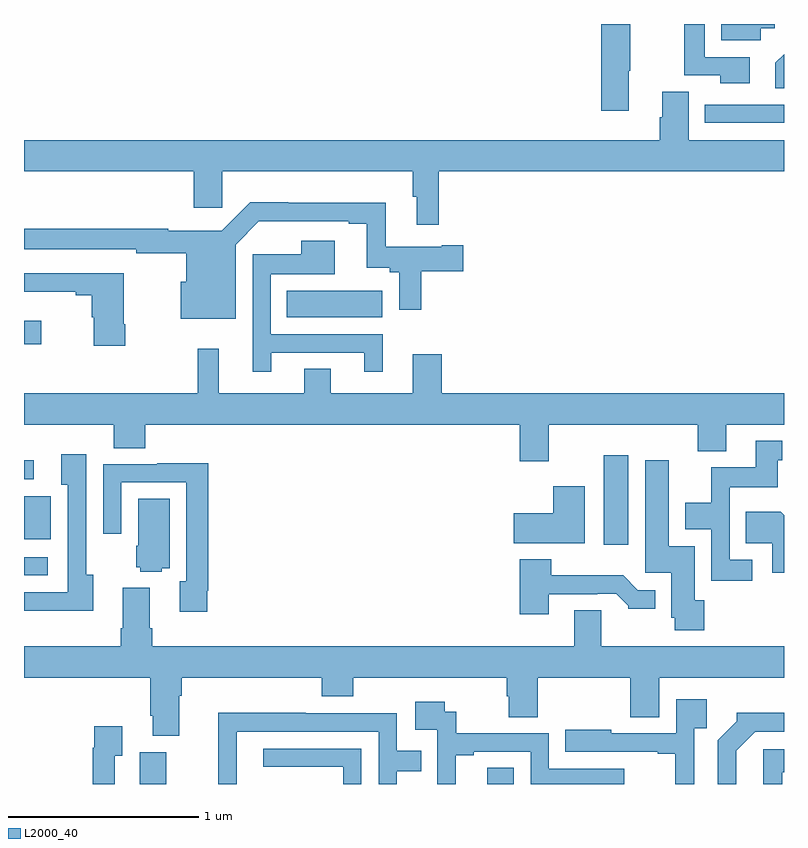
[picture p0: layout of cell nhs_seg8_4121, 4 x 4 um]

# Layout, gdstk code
import gdstk
lib = gdstk.Library(unit=1e-6, precision=1e-09)
def R(c, l, rs):  # rectangles x0, y0, x1, y1
    for r in rs: c.add(gdstk.rectangle(r[:2], r[2:], *l))
def P(c, l, *ps):  # polygons
    for p in ps: c.add(gdstk.Polygon(p, *l))
L2000_40 = (2000, 40)

nhs_seg8_4121 = lib.new_cell('nhs_seg8_4121')
R(nhs_seg8_4121, L2000_40, [(363.608,1155.9,363.748,1156.068), (365.438,1155.9,365.578,1155.986), (363,1156.998,363.124,1157.094), (366.05,1157.16,366.181,1157.629), (363,1157.187,363.142,1157.415), (363,1157.505,363.052,1157.603), (363,1158.215,363.091,1158.337), (364.384,1158.356,364.885,1158.496), (366.584,1159.38,367,1159.476)])
P(nhs_seg8_4121, L2000_40, [(366.184,1159.655),(366.192,1159.655),(366.192,1159.9),(366.038,1159.9),(366.038,1159.443),(366.184,1159.443)],
  [(366.877,1159.877),(366.952,1159.877),(366.952,1159.9),(366.671,1159.9),(366.671,1159.814),(366.877,1159.814)],
  [(366.82,1159.725),(366.582,1159.725),(366.582,1159.9),(366.474,1159.9),(366.474,1159.629),(366.664,1159.629),(366.664,1159.589),(366.82,1159.589)],
  [(367,1159.742),(366.955,1159.697),(366.955,1159.561),(367,1159.561)],
  [(365.183,1159.124),(367,1159.124),(367,1159.288),(366.499,1159.288),(366.499,1159.544),(366.359,1159.544),(366.359,1159.41),(366.347,1159.41),(366.347,1159.288),(363,1159.288),(363,1159.124),(363.893,1159.124),(363.893,1158.933),(364.044,1158.933),(364.044,1159.124),(365.047,1159.124),(365.047,1158.992),(365.066,1158.992),(365.066,1158.843),(365.183,1158.843)],
  [(364.114,1158.739),(364.236,1158.861),(364.709,1158.861),(364.709,1158.849),(364.805,1158.849),(364.805,1158.617),(364.926,1158.617),(364.926,1158.593),(364.974,1158.593),(364.974,1158.396),(365.09,1158.396),(365.09,1158.598),(365.311,1158.598),(365.311,1158.735),(365.198,1158.735),(365.198,1158.727),(364.903,1158.727),(364.903,1158.958),(364.391,1158.958),(364.391,1158.961),(364.192,1158.961),(364.042,1158.811),(363.758,1158.811),(363.758,1158.823),(363,1158.823),(363,1158.714),(363.592,1158.714),(363.592,1158.694),(363.854,1158.694),(363.854,1158.544),(363.824,1158.544),(363.824,1158.35),(364.114,1158.35)],
  [(364.3,1158.171),(364.79,1158.171),(364.79,1158.069),(364.888,1158.069),(364.888,1158.267),(364.299,1158.267),(364.299,1158.584),(364.636,1158.584),(364.636,1158.76),(364.46,1158.76),(364.46,1158.688),(364.203,1158.688),(364.203,1158.069),(364.3,1158.069)],
  [(363.534,1158.319),(363.526,1158.319),(363.526,1158.588),(363,1158.588),(363,1158.491),(363.272,1158.491),(363.272,1158.472),(363.356,1158.472),(363.356,1158.357),(363.368,1158.357),(363.368,1158.207),(363.534,1158.207)],
  [(365.761,1157.792),(366.545,1157.792),(366.545,1157.651),(366.697,1157.651),(366.697,1157.792),(367,1157.792),(367,1157.956),(365.198,1157.956),(365.198,1158.163),(365.045,1158.163),(365.045,1157.956),(364.615,1157.956),(364.615,1158.086),(364.475,1158.086),(364.475,1157.956),(364.025,1157.956),(364.025,1158.19),(363.915,1158.19),(363.915,1157.956),(363,1157.956),(363,1157.792),(363.473,1157.792),(363.473,1157.668),(363.638,1157.668),(363.638,1157.792),(365.609,1157.792),(365.609,1157.598),(365.761,1157.598)],
  [(366.832,1157.079),(366.714,1157.079),(366.714,1157.462),(366.967,1157.462),(366.967,1157.604),(366.991,1157.604),(366.991,1157.707),(366.851,1157.707),(366.851,1157.566),(366.616,1157.566),(366.616,1157.38),(366.479,1157.38),(366.479,1157.24),(366.618,1157.24),(366.618,1156.971),(366.832,1156.971)],
  [(363.364,1157.002),(363.327,1157.002),(363.327,1157.635),(363.197,1157.635),(363.197,1157.474),(363.231,1157.474),(363.231,1156.908),(363,1156.908),(363,1156.811),(363.364,1156.811)],
  [(366.581,1156.866),(366.529,1156.866),(366.529,1157.152),(366.394,1157.152),(366.394,1157.605),(366.269,1157.605),(366.269,1157.013),(366.407,1157.013),(366.407,1156.776),(366.424,1156.776),(366.424,1156.71),(366.581,1156.71)],
  [(363.964,1156.918),(363.971,1156.918),(363.971,1157.587),(363.701,1157.587),(363.701,1157.583),(363.417,1157.583),(363.417,1157.217),(363.513,1157.217),(363.513,1157.487),(363.855,1157.487),(363.855,1156.967),(363.821,1156.967),(363.821,1156.806),(363.964,1156.806)],
  [(365.95,1157.467),(365.786,1157.467),(365.786,1157.326),(365.577,1157.326),(365.577,1157.168),(365.95,1157.168)],
  [(363.726,1157.036),(363.766,1157.036),(363.766,1157.402),(363.602,1157.402),(363.602,1157.154),(363.59,1157.154),(363.59,1157.04),(363.612,1157.04),(363.612,1157.018),(363.726,1157.018)],
  [(367,1157.314),(366.982,1157.332),(366.799,1157.332),(366.799,1157.168),(366.938,1157.168),(366.938,1157.011),(367,1157.011)],
  [(365.761,1156.899),(366.017,1156.899),(366.017,1156.902),(366.116,1156.902),(366.18,1156.838),(366.18,1156.823),(366.322,1156.823),(366.322,1156.92),(366.231,1156.92),(366.153,1156.999),(365.774,1156.999),(365.774,1157.083),(365.609,1157.083),(365.609,1156.794),(365.761,1156.794)],
  [(363.817,1156.364),(363.83,1156.364),(363.83,1156.46),(364.568,1156.46),(364.568,1156.361),(364.733,1156.361),(364.733,1156.46),(365.54,1156.46),(365.54,1156.362),(365.552,1156.362),(365.552,1156.252),(365.705,1156.252),(365.705,1156.46),(366.191,1156.46),(366.191,1156.252),(366.343,1156.252),(366.343,1156.46),(367,1156.46),(367,1156.624),(366.037,1156.624),(366.037,1156.814),(365.897,1156.814),(365.897,1156.624),(363.674,1156.624),(363.674,1156.72),(363.661,1156.72),(363.661,1156.933),(363.521,1156.933),(363.521,1156.72),(363.509,1156.72),(363.509,1156.624),(363,1156.624),(363,1156.46),(363.665,1156.46),(363.665,1156.258),(363.677,1156.258),(363.677,1156.153),(363.817,1156.153)],
  [(366.528,1156.193),(366.593,1156.193),(366.593,1156.345),(366.432,1156.345),(366.432,1156.167),(366.091,1156.167),(366.091,1156.186),(365.848,1156.186),(365.848,1156.071),(366.335,1156.071),(366.335,1156.059),(366.427,1156.059),(366.427,1155.9),(366.528,1155.9)],
  [(365.272,1156.051),(365.368,1156.051),(365.368,1156.071),(365.667,1156.071),(365.667,1155.9),(366.158,1155.9),(366.158,1155.981),(365.763,1155.981),(365.763,1156.167),(365.276,1156.167),(365.276,1156.281),(365.214,1156.281),(365.214,1156.333),(365.058,1156.333),(365.058,1156.185),(365.175,1156.185),(365.175,1155.9),(365.272,1155.9)],
  [(364.119,1156.176),(364.866,1156.176),(364.866,1155.9),(364.963,1155.9),(364.963,1155.966),(365.09,1155.966),(365.09,1156.074),(364.962,1156.074),(364.962,1156.272),(364.484,1156.272),(364.484,1156.274),(364.022,1156.274),(364.022,1155.97),(364.023,1155.97),(364.023,1155.9),(364.119,1155.9)],
  [(366.748,1156.075),(366.849,1156.176),(367,1156.176),(367,1156.274),(366.75,1156.274),(366.75,1156.229),(366.651,1156.13),(366.651,1155.9),(366.748,1155.9)],
  [(363.477,1156.048),(363.517,1156.048),(363.517,1156.204),(363.369,1156.204),(363.369,1156.091),(363.361,1156.091),(363.361,1155.9),(363.477,1155.9)],
  [(364.776,1156.086),(364.26,1156.086),(364.26,1155.99),(364.68,1155.99),(364.68,1155.9),(364.776,1155.9)],
  [(366.99,1155.963),(367,1155.963),(367,1156.084),(366.89,1156.084),(366.89,1155.9),(366.99,1155.9)])

lib.write_gds('nhs_seg8_4121.gds')
